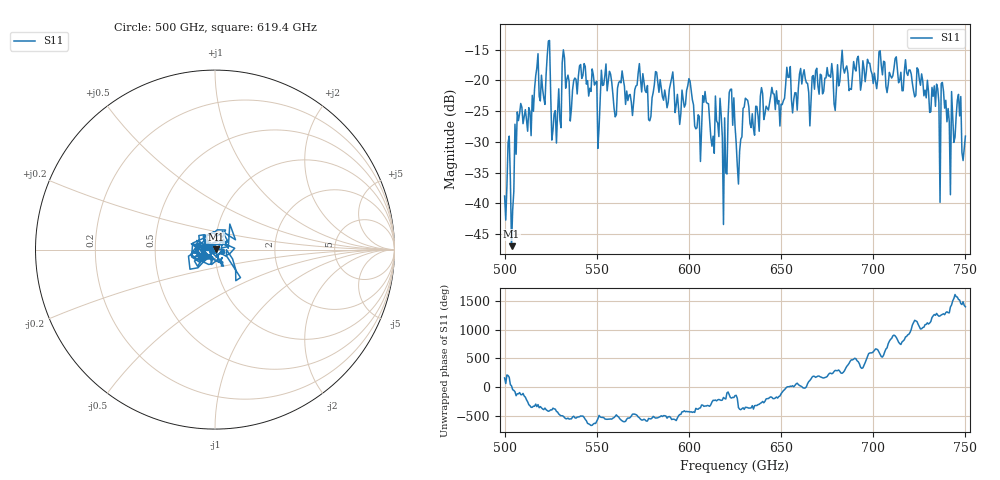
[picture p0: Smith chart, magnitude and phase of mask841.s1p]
!Created with skrf (http://scikit-rf.org).
# GHz S MA R 50.0
!freq magS11 angS11
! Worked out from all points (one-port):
!   401 points, 500 GHz to 750 GHz, reference 50 ohm
!   lowest |S11| = -47.0 dB at 503.8 GHz (marker M1), VSWR 1.01, Z = 50.4 + j0.188 ohm
!   |S11| at or under -10 dB: start of sweep to end of sweep
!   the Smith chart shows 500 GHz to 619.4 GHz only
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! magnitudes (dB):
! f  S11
! 500 GHz  -38.8
! 503.8 GHz  -47.0
! 508.1 GHz  -25.4
! 513.1 GHz  -24.4
! 523.8 GHz  -13.6
! 526.9 GHz  -25.4
! 531.2 GHz  -17.1
! 550.6 GHz  -31.1
! 562.5 GHz  -20.1
! 593.8 GHz  -22.3
! 600 GHz  -19.7
! 605.6 GHz  -25.9
! 608.8 GHz  -21.8
! 612.5 GHz  -30.7
! 616.9 GHz  -22.9
! 619.4 GHz  -26.1
! 623.1 GHz  -21.4
! 625 GHz  -27.4
! 626.9 GHz  -36.9
! 630.6 GHz  -22.9
! 656.2 GHz  -25.3
! 687.5 GHz  -21.3
! 718.8 GHz  -19.2
! 735 GHz  -21.4
! 738.1 GHz  -21.8
! 743.1 GHz  -25.8
! 746.2 GHz  -22.3
! 750 GHz  -29.1
